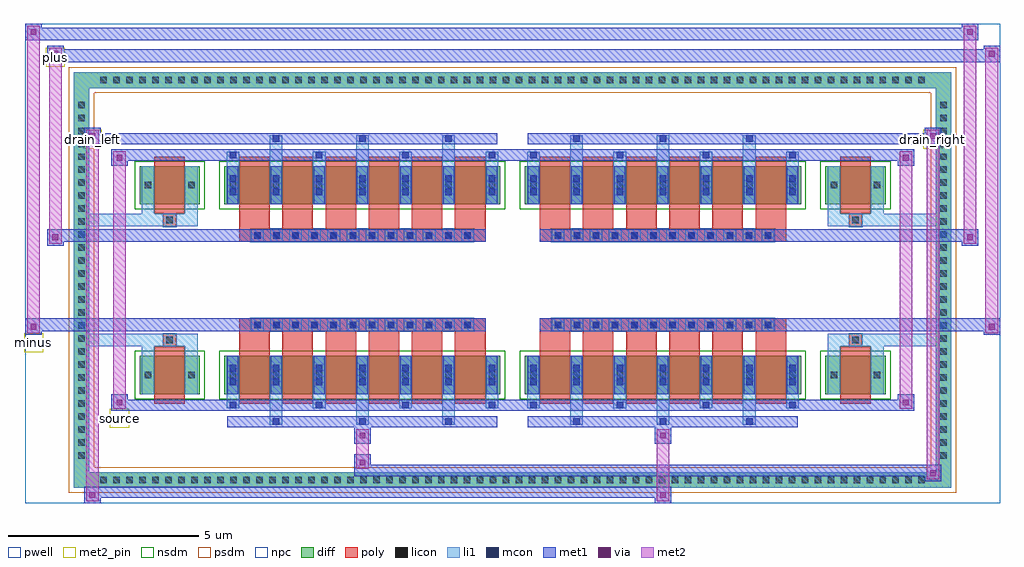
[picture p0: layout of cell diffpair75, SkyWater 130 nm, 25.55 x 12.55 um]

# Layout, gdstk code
import gdstk
lib = gdstk.Library(unit=1e-6, precision=5e-09)
def R(c, l, rs):  # rectangles x0, y0, x1, y1
    for r in rs: c.add(gdstk.rectangle(r[:2], r[2:], *l))
def A(c, l, x, y, w, h, nx, ny, dx, dy):  # array of equal rectangles
    R(c, l, [(x+i*dx, y+j*dy, x+i*dx+w, y+j*dy+h) for i in range(nx) for j in range(ny)])
def P(c, l, *ps):  # polygons
    for p in ps: c.add(gdstk.Polygon(p, *l))
pwell = (64, 44)
diff = (65, 20)
poly = (66, 20)
licon = (66, 44)
li1 = (67, 20)
mcon = (67, 44)
met1 = (68, 20)
via = (68, 44)
met2_pin = (69, 16)
met2 = (69, 20)
nsdm = (93, 44)
psdm = (94, 20)
npc = (95, 20)

diffpair75 = lib.new_cell('diffpair75')
R(diffpair75, pwell, [(-12.76,-5.84,12.76,6.71), (-10.08,-4.03,-0.01,-0.805), (0.01,-4.03,10.08,-0.805), (-10.08,0.805,-0.01,4.03), (0.01,0.805,10.08,4.03)])
A(diffpair75, diff, -10.915, -5.44, 0.41, 0.41, 64, 2, 0.34, 10.47)
A(diffpair75, diff, -11.49, -4.795, 0.41, 0.41, 1, 28, 0, 0.34)
A(diffpair75, diff, 11.08, -4.795, 0.41, 0.41, 1, 28, 0, 0.34)
R(diffpair75, diff, [(-10.915,-5.44,10.915,-5.03), (-11.49,-4.795,-11.08,4.795), (11.08,-4.795,11.49,4.795), (-9.77,-2.985,-8.19,-1.985), (-7.55,-2.985,-0.32,-1.985), (0.32,-2.985,7.55,-1.985), (8.19,-2.985,9.77,-1.985), (-9.77,1.985,-8.19,2.985), (-7.55,1.985,-0.32,2.985), (0.32,1.985,7.55,2.985), (8.19,1.985,9.77,2.985), (-10.915,5.03,10.915,5.44)])
P(diffpair75, diff, [(11.49,5.44),(-11.49,5.44),(-11.49,-5.03),(-11.08,-5.03),(-11.08,5.03),(11.08,5.03),(11.08,-5.03),(-11.08,-5.03),(-11.49,-5.03),(-11.49,-5.44),(11.49,-5.44)])
A(diffpair75, poly, -7.16, -3.235, 0.8, 1.5, 6, 2, 1.13, 4.97)
A(diffpair75, poly, 0.71, -3.235, 0.8, 1.5, 6, 2, 1.13, 4.97)
A(diffpair75, poly, -7.16, -1.735, 0.8, 0.4, 6, 2, 1.13, 3.07)
A(diffpair75, poly, 0.71, -1.735, 0.8, 0.4, 6, 2, 1.13, 3.07)
A(diffpair75, poly, -6.85, -1.335, 0.33, 0.33, 12, 2, 0.5, 2.34)
A(diffpair75, poly, 1.02, -1.335, 0.33, 0.33, 12, 2, 0.5, 2.34)
R(diffpair75, poly, [(-9.38,-3.235,-8.58,-1.735), (8.58,-3.235,9.38,-1.735), (-9.145,-1.735,-8.815,-1.405), (-9.145,-1.735,-8.815,-1.405), (8.815,-1.735,9.145,-1.405), (8.815,-1.735,9.145,-1.405), (-7.16,-1.335,-0.71,-1.005), (0.71,-1.335,7.16,-1.005), (-7.16,1.005,-0.71,1.335), (0.71,1.005,7.16,1.335), (-9.145,1.405,-8.815,1.735), (-9.145,1.405,-8.815,1.735), (8.815,1.405,9.145,1.735), (8.815,1.405,9.145,1.735), (-9.38,1.735,-8.58,3.235), (8.58,1.735,9.38,3.235)])
A(diffpair75, licon, -10.795, -5.32, 0.17, 0.17, 64, 2, 0.34, 10.47)
A(diffpair75, licon, -11.37, -4.675, 0.17, 0.17, 1, 28, 0, 0.34)
A(diffpair75, licon, 11.2, -4.675, 0.17, 0.17, 1, 28, 0, 0.34)
A(diffpair75, licon, -7.41, -2.57, 0.17, 0.17, 7, 2, 1.13, 4.97)
A(diffpair75, licon, 0.46, -2.57, 0.17, 0.17, 7, 2, 1.13, 4.97)
A(diffpair75, licon, -6.77, -1.255, 0.17, 0.17, 12, 2, 0.5, 2.34)
A(diffpair75, licon, 1.1, -1.255, 0.17, 0.17, 12, 2, 0.5, 2.34)
R(diffpair75, licon, [(-9.63,-2.57,-9.46,-2.4), (-8.5,-2.57,-8.33,-2.4), (8.33,-2.57,8.5,-2.4), (9.46,-2.57,9.63,-2.4), (-9.065,-1.655,-8.895,-1.485), (8.895,-1.655,9.065,-1.485), (-9.065,1.485,-8.895,1.655), (8.895,1.485,9.065,1.655), (-9.63,2.4,-9.46,2.57), (-8.5,2.4,-8.33,2.57), (8.33,2.4,8.5,2.57), (9.46,2.4,9.63,2.57)])
A(diffpair75, li1, -10.875, -5.4, 0.33, 0.33, 64, 2, 0.34, 10.47)
A(diffpair75, li1, -11.45, -4.755, 0.33, 0.33, 1, 28, 0, 0.34)
A(diffpair75, li1, 11.12, -4.755, 0.33, 0.33, 1, 28, 0, 0.34)
A(diffpair75, li1, -6.36, -3.79, 0.33, 0.805, 3, 2, 2.26, 6.775)
A(diffpair75, li1, -6.28, -3.79, 0.17, 0.17, 3, 2, 2.26, 7.41)
A(diffpair75, li1, 1.51, -3.79, 0.33, 0.805, 3, 2, 2.26, 6.775)
A(diffpair75, li1, 1.59, -3.79, 0.17, 0.17, 3, 2, 2.26, 7.41)
A(diffpair75, li1, -7.49, -3.36, 0.33, 0.375, 4, 2, 2.26, 6.345)
A(diffpair75, li1, -7.41, -3.36, 0.17, 0.17, 4, 2, 2.26, 6.55)
A(diffpair75, li1, 0.38, -3.36, 0.33, 0.375, 4, 2, 2.26, 6.345)
A(diffpair75, li1, 0.46, -3.36, 0.17, 0.17, 4, 2, 2.26, 6.55)
A(diffpair75, li1, -7.49, -2.985, 0.33, 1, 7, 2, 1.13, 4.97)
A(diffpair75, li1, 0.38, -2.985, 0.33, 1, 7, 2, 1.13, 4.97)
A(diffpair75, li1, -7.41, -2.75, 0.17, 0.17, 7, 2, 1.13, 0.36)
A(diffpair75, li1, -7.41, -2.75, 0.17, 0.53, 7, 2, 1.13, 4.97)
A(diffpair75, li1, 0.46, -2.75, 0.17, 0.17, 7, 2, 1.13, 0.36)
A(diffpair75, li1, 0.46, -2.75, 0.17, 0.53, 7, 2, 1.13, 4.97)
A(diffpair75, li1, -7.49, -2.65, 0.33, 0.33, 7, 2, 1.13, 4.97)
A(diffpair75, li1, 0.38, -2.65, 0.33, 0.33, 7, 2, 1.13, 4.97)
A(diffpair75, li1, -6.85, -1.335, 0.33, 0.33, 12, 2, 0.5, 2.34)
A(diffpair75, li1, 1.02, -1.335, 0.33, 0.33, 12, 2, 0.5, 2.34)
A(diffpair75, li1, -7.41, 2.22, 0.17, 0.17, 7, 2, 1.13, 0.36)
A(diffpair75, li1, 0.46, 2.22, 0.17, 0.17, 7, 2, 1.13, 0.36)
R(diffpair75, li1, [(-11.49,-5.44,-11.08,-5.03), (-11.49,-5.44,-11.08,-5.03), (-11.08,-5.44,11.08,-5.03), (11.08,-5.44,11.49,-5.03), (11.08,-5.44,11.49,-5.03), (-11.49,-5.03,-11.08,5.03), (11.08,-5.03,11.49,5.03), (-9.71,-2.985,-9.38,-1.985), (-8.58,-2.985,-8.25,-1.985), (8.25,-2.985,8.58,-1.985), (9.38,-2.985,9.71,-1.985), (-9.71,-2.65,-9.38,-2.32), (-8.58,-2.65,-8.25,-2.32), (8.25,-2.65,8.58,-2.32), (9.38,-2.65,9.71,-2.32), (-9.71,-1.985,-9.38,-1.405), (-8.58,-1.985,-8.25,-1.405), (8.25,-1.985,8.58,-1.405), (9.38,-1.985,9.71,-1.405), (-11.49,-1.735,-9.145,-1.405), (-9.71,-1.735,-9.145,-1.405), (-9.145,-1.735,-8.815,-1.405), (-8.815,-1.735,-8.25,-1.405), (8.25,-1.735,8.815,-1.405), (8.815,-1.735,9.145,-1.405), (8.815,-1.735,11.49,-1.405), (9.145,-1.735,9.71,-1.405), (-11.49,1.405,-9.145,1.735), (-9.71,1.405,-9.145,1.735), (-9.71,1.405,-9.38,1.985), (-9.145,1.405,-8.815,1.735), (-8.815,1.405,-8.25,1.735), (-8.58,1.405,-8.25,1.985), (8.25,1.405,8.815,1.735), (8.25,1.405,8.58,1.985), (8.815,1.405,9.145,1.735), (8.815,1.405,11.49,1.735), (9.145,1.405,9.71,1.735), (9.38,1.405,9.71,1.985), (-9.71,1.985,-9.38,2.985), (-8.58,1.985,-8.25,2.985), (8.25,1.985,8.58,2.985), (9.38,1.985,9.71,2.985), (-9.71,2.32,-9.38,2.65), (-8.58,2.32,-8.25,2.65), (8.25,2.32,8.58,2.65), (9.38,2.32,9.71,2.65), (-11.49,5.03,-11.08,5.44), (-11.49,5.03,-11.08,5.44), (-11.08,5.03,11.08,5.44), (11.08,5.03,11.49,5.44), (11.08,5.03,11.49,5.44)])
A(diffpair75, mcon, -6.28, -3.79, 0.17, 0.17, 3, 2, 2.26, 7.41)
A(diffpair75, mcon, 1.59, -3.79, 0.17, 0.17, 3, 2, 2.26, 7.41)
A(diffpair75, mcon, -7.41, -3.36, 0.17, 0.17, 4, 2, 2.26, 6.55)
A(diffpair75, mcon, 0.46, -3.36, 0.17, 0.17, 4, 2, 2.26, 6.55)
A(diffpair75, mcon, -7.41, -2.75, 0.17, 0.17, 7, 2, 1.13, 0.36)
A(diffpair75, mcon, 0.46, -2.75, 0.17, 0.17, 7, 2, 1.13, 0.36)
A(diffpair75, mcon, -6.77, -1.255, 0.17, 0.17, 12, 2, 0.5, 2.34)
A(diffpair75, mcon, 1.1, -1.255, 0.17, 0.17, 12, 2, 0.5, 2.34)
A(diffpair75, mcon, -7.41, 2.22, 0.17, 0.17, 7, 2, 1.13, 0.36)
A(diffpair75, mcon, 0.46, 2.22, 0.17, 0.17, 7, 2, 1.13, 0.36)
A(diffpair75, met1, -6.34, -3.85, 0.29, 0.29, 3, 2, 2.26, 7.41)
A(diffpair75, met1, 1.53, -3.85, 0.29, 0.29, 3, 2, 2.26, 7.41)
A(diffpair75, met1, -7.47, -3.42, 0.29, 0.29, 4, 2, 2.26, 6.55)
A(diffpair75, met1, 0.4, -3.42, 0.29, 0.29, 4, 2, 2.26, 6.55)
A(diffpair75, met1, -7.47, -2.985, 0.29, 1, 7, 2, 1.13, 4.97)
A(diffpair75, met1, 0.4, -2.985, 0.29, 1, 7, 2, 1.13, 4.97)
A(diffpair75, met1, -7.47, -2.81, 0.29, 0.29, 7, 2, 1.13, 0.36)
A(diffpair75, met1, 0.4, -2.81, 0.29, 0.29, 7, 2, 1.13, 0.36)
A(diffpair75, met1, -6.83, -1.315, 0.29, 0.29, 12, 2, 0.5, 2.34)
A(diffpair75, met1, 1.04, -1.315, 0.29, 0.29, 12, 2, 0.5, 2.34)
A(diffpair75, met1, -7.47, 2.16, 0.29, 0.29, 7, 2, 1.13, 0.36)
A(diffpair75, met1, 0.4, 2.16, 0.29, 0.29, 7, 2, 1.13, 0.36)
R(diffpair75, met1, [(-11.22,-5.84,-10.79,-5.41), (3.72,-5.84,4.15,-5.41), (-11.22,-5.7,4.15,-5.41), (10.79,-5.27,11.22,-4.84), (-4.15,-5.13,11.22,-4.84), (-4.15,-4.99,-3.72,-4.56), (-4.15,-4.28,-3.72,-3.85), (3.72,-4.28,4.15,-3.85), (-7.47,-3.85,-0.4,-3.56), (0.4,-3.85,7.47,-3.56), (-10.51,-3.42,-10.08,-2.99), (-10.51,-3.42,-7.47,-3.13), (-7.47,-3.42,-0.4,-3.13), (-0.4,-3.42,0.4,-3.13), (0.4,-3.42,7.47,-3.13), (7.47,-3.42,10.51,-3.13), (10.08,-3.42,10.51,-2.99), (-12.76,-1.435,-12.33,-1.005), (12.33,-1.435,12.76,-1.005), (-12.76,-1.335,-0.71,-1.005), (-7.16,-1.335,-0.71,-1.005), (0.71,-1.335,7.16,-1.005), (0.71,-1.335,12.76,-1.005), (-12.19,0.905,-11.76,1.335), (11.76,0.905,12.19,1.335), (-12.19,1.005,-7.16,1.335), (-7.16,1.005,-0.71,1.335), (0.71,1.005,7.16,1.335), (7.16,1.005,12.19,1.335), (-10.51,2.99,-10.08,3.42), (10.08,2.99,10.51,3.42), (-10.51,3.13,-7.47,3.42), (-7.47,3.13,-0.4,3.42), (-0.4,3.13,0.4,3.42), (0.4,3.13,7.47,3.42), (7.47,3.13,10.51,3.42), (-11.22,3.56,-10.79,3.99), (-11.22,3.56,-7.47,3.85), (-7.47,3.56,-0.4,3.85), (0.4,3.56,7.47,3.85), (7.47,3.56,11.22,3.85), (10.79,3.56,11.22,3.99), (-12.19,5.71,-11.76,6.14), (-12.19,5.71,-10.08,6.04), (-10.08,5.71,10.08,6.04), (10.08,5.71,12.76,6.04), (12.33,5.71,12.76,6.14), (-12.76,6.28,-12.33,6.71), (-12.76,6.28,-10.08,6.61), (-10.08,6.28,10.08,6.61), (10.08,6.28,12.19,6.61), (11.76,6.28,12.19,6.71)])
R(diffpair75, via, [(-11.08,-5.7,-10.93,-5.55), (3.86,-5.7,4.01,-5.55), (10.93,-5.13,11.08,-4.98), (-4.01,-4.85,-3.86,-4.7), (-4.01,-4.14,-3.86,-3.99), (3.86,-4.14,4.01,-3.99), (-10.37,-3.28,-10.22,-3.13), (10.22,-3.28,10.37,-3.13), (-12.62,-1.295,-12.47,-1.145), (12.47,-1.295,12.62,-1.145), (-12.05,1.045,-11.9,1.195), (11.9,1.045,12.05,1.195), (-10.37,3.13,-10.22,3.28), (10.22,3.13,10.37,3.28), (-11.08,3.7,-10.93,3.85), (10.93,3.7,11.08,3.85), (-12.05,5.85,-11.9,6), (12.47,5.85,12.62,6), (-12.62,6.42,-12.47,6.57), (11.9,6.42,12.05,6.57)])
R(diffpair75, met2_pin, [(-10.545,-3.87,-10.045,-3.37), (-12.795,-1.885,-12.295,-1.385), (-11.255,3.44,-10.755,3.94), (10.755,3.44,11.255,3.94), (-12.225,5.59,-11.725,6.09)])
R(diffpair75, met2, [(-11.17,-5.79,-10.84,-5.46), (-11.17,-5.79,-10.84,3.94), (3.77,-5.79,4.1,-5.46), (3.77,-5.46,4.1,-4.23), (10.84,-5.22,11.17,-4.89), (10.84,-5.22,11.17,3.94), (-4.1,-4.94,-3.77,-4.61), (-4.1,-4.61,-3.77,-4.23), (-4.1,-4.23,-3.77,-3.9), (3.77,-4.23,4.1,-3.9), (-10.46,-3.37,-10.13,-3.04), (-10.46,-3.37,-10.13,3.37), (10.13,-3.37,10.46,-3.04), (10.13,-3.37,10.46,3.37), (-12.71,-1.385,-12.38,-1.055), (-12.71,-1.385,-12.38,6.66), (12.38,-1.385,12.71,-1.055), (12.38,-1.385,12.71,6.09), (-12.14,0.955,-11.81,1.285), (-12.14,0.955,-11.81,6.09), (11.81,0.955,12.14,1.285), (11.81,0.955,12.14,6.66), (-10.46,3.04,-10.13,3.37), (10.13,3.04,10.46,3.37), (-11.17,3.61,-10.84,3.94), (10.84,3.61,11.17,3.94), (-12.14,5.76,-11.81,6.09), (12.38,5.76,12.71,6.09), (-12.71,6.33,-12.38,6.66), (11.81,6.33,12.14,6.66)])
P(diffpair75, met2, [(12.71,-1.385),(12.71,-1.385),(12.71,-1.055),(12.71,-1.055)],
  [(12.71,5.76),(12.71,5.76),(12.71,6.09),(12.71,6.09)],
  [(-12.38,-1.385),(-12.38,-1.385),(-12.38,-1.055),(-12.38,-1.055)],
  [(-12.38,6.33),(-12.38,6.33),(-12.38,6.66),(-12.38,6.66)],
  [(12.14,0.955),(12.14,0.955),(12.14,1.285),(12.14,1.285)],
  [(12.14,6.33),(12.14,6.33),(12.14,6.66),(12.14,6.66)],
  [(-11.81,0.955),(-11.81,0.955),(-11.81,1.285),(-11.81,1.285)],
  [(-11.81,5.76),(-11.81,5.76),(-11.81,6.09),(-11.81,6.09)],
  [(-10.84,-5.79),(-10.84,-5.79),(-10.84,-5.46),(-10.84,-5.46)],
  [(-10.84,3.61),(-10.84,3.61),(-10.84,3.94),(-10.84,3.94)],
  [(11.17,-5.22),(11.17,-5.22),(11.17,-4.89),(11.17,-4.89)],
  [(11.17,3.61),(11.17,3.61),(11.17,3.94),(11.17,3.94)],
  [(-10.13,-3.37),(-10.13,-3.37),(-10.13,-3.04),(-10.13,-3.04)],
  [(-10.13,3.04),(-10.13,3.04),(-10.13,3.37),(-10.13,3.37)],
  [(10.46,-3.37),(10.46,-3.37),(10.46,-3.04),(10.46,-3.04)],
  [(10.46,3.04),(10.46,3.04),(10.46,3.37),(10.46,3.37)])
R(diffpair75, nsdm, [(-9.9,-3.115,-8.06,-1.855), (-7.68,-3.115,-0.19,-1.855), (0.19,-3.115,7.68,-1.855), (8.06,-3.115,9.9,-1.855), (-9.9,1.855,-8.06,3.115), (-7.68,1.855,-0.19,3.115), (0.19,1.855,7.68,3.115), (8.06,1.855,9.9,3.115)])
P(diffpair75, psdm, [(11.62,5.57),(-11.62,5.57),(-11.62,-4.9),(-10.95,-4.9),(-10.95,4.9),(10.95,4.9),(10.95,-4.9),(-10.95,-4.9),(-11.62,-4.9),(-11.62,-5.57),(11.62,-5.57)])
A(diffpair75, npc, -6.87, -1.355, 0.37, 0.37, 12, 2, 0.5, 2.34)
A(diffpair75, npc, 1, -1.355, 0.37, 0.37, 12, 2, 0.5, 2.34)
R(diffpair75, npc, [(-9.165,-1.755,-8.795,-1.385), (8.795,-1.755,9.165,-1.385), (-6.87,-1.355,-6,-0.985), (-6.87,-1.355,-6,-0.985), (-6.37,-1.355,-5.5,-0.985), (-6.37,-1.355,-5.5,-0.985), (-5.87,-1.355,-5,-0.985), (-5.87,-1.355,-5,-0.985), (-5.37,-1.355,-4.5,-0.985), (-5.37,-1.355,-4.5,-0.985), (-4.87,-1.355,-4,-0.985), (-4.87,-1.355,-4,-0.985), (-4.37,-1.355,-3.5,-0.985), (-4.37,-1.355,-3.5,-0.985), (-3.87,-1.355,-3,-0.985), (-3.87,-1.355,-3,-0.985), (-3.37,-1.355,-2.5,-0.985), (-3.37,-1.355,-2.5,-0.985), (-2.87,-1.355,-2,-0.985), (-2.87,-1.355,-2,-0.985), (-2.37,-1.355,-1.5,-0.985), (-2.37,-1.355,-1.5,-0.985), (-1.87,-1.355,-1,-0.985), (-1.87,-1.355,-1,-0.985), (1,-1.355,1.87,-0.985), (1,-1.355,1.87,-0.985), (1.5,-1.355,2.37,-0.985), (1.5,-1.355,2.37,-0.985), (2,-1.355,2.87,-0.985), (2,-1.355,2.87,-0.985), (2.5,-1.355,3.37,-0.985), (2.5,-1.355,3.37,-0.985), (3,-1.355,3.87,-0.985), (3,-1.355,3.87,-0.985), (3.5,-1.355,4.37,-0.985), (3.5,-1.355,4.37,-0.985), (4,-1.355,4.87,-0.985), (4,-1.355,4.87,-0.985), (4.5,-1.355,5.37,-0.985), (4.5,-1.355,5.37,-0.985), (5,-1.355,5.87,-0.985), (5,-1.355,5.87,-0.985), (5.5,-1.355,6.37,-0.985), (5.5,-1.355,6.37,-0.985), (6,-1.355,6.87,-0.985), (6,-1.355,6.87,-0.985), (-6.87,0.985,-6,1.355), (-6.87,0.985,-6,1.355), (-6.37,0.985,-5.5,1.355), (-6.37,0.985,-5.5,1.355), (-5.87,0.985,-5,1.355), (-5.87,0.985,-5,1.355), (-5.37,0.985,-4.5,1.355), (-5.37,0.985,-4.5,1.355), (-4.87,0.985,-4,1.355), (-4.87,0.985,-4,1.355), (-4.37,0.985,-3.5,1.355), (-4.37,0.985,-3.5,1.355), (-3.87,0.985,-3,1.355), (-3.87,0.985,-3,1.355), (-3.37,0.985,-2.5,1.355), (-3.37,0.985,-2.5,1.355), (-2.87,0.985,-2,1.355), (-2.87,0.985,-2,1.355), (-2.37,0.985,-1.5,1.355), (-2.37,0.985,-1.5,1.355), (-1.87,0.985,-1,1.355), (-1.87,0.985,-1,1.355), (1,0.985,1.87,1.355), (1,0.985,1.87,1.355), (1.5,0.985,2.37,1.355), (1.5,0.985,2.37,1.355), (2,0.985,2.87,1.355), (2,0.985,2.87,1.355), (2.5,0.985,3.37,1.355), (2.5,0.985,3.37,1.355), (3,0.985,3.87,1.355), (3,0.985,3.87,1.355), (3.5,0.985,4.37,1.355), (3.5,0.985,4.37,1.355), (4,0.985,4.87,1.355), (4,0.985,4.87,1.355), (4.5,0.985,5.37,1.355), (4.5,0.985,5.37,1.355), (5,0.985,5.87,1.355), (5,0.985,5.87,1.355), (5.5,0.985,6.37,1.355), (5.5,0.985,6.37,1.355), (6,0.985,6.87,1.355), (6,0.985,6.87,1.355), (-9.165,1.385,-8.795,1.755), (8.795,1.385,9.165,1.755)])
diffpair75.add(gdstk.Label('minus', (-12.545,-1.635), layer=69, texttype=5))
diffpair75.add(gdstk.Label('drain_right', (11.005,3.69), layer=69, texttype=5))
diffpair75.add(gdstk.Label('drain_left', (-11.005,3.69), layer=69, texttype=5))
diffpair75.add(gdstk.Label('source', (-10.295,-3.62), layer=69, texttype=5))
diffpair75.add(gdstk.Label('plus', (-11.975,5.84), layer=69, texttype=5))

lib.write_gds('diffpair75.gds')
